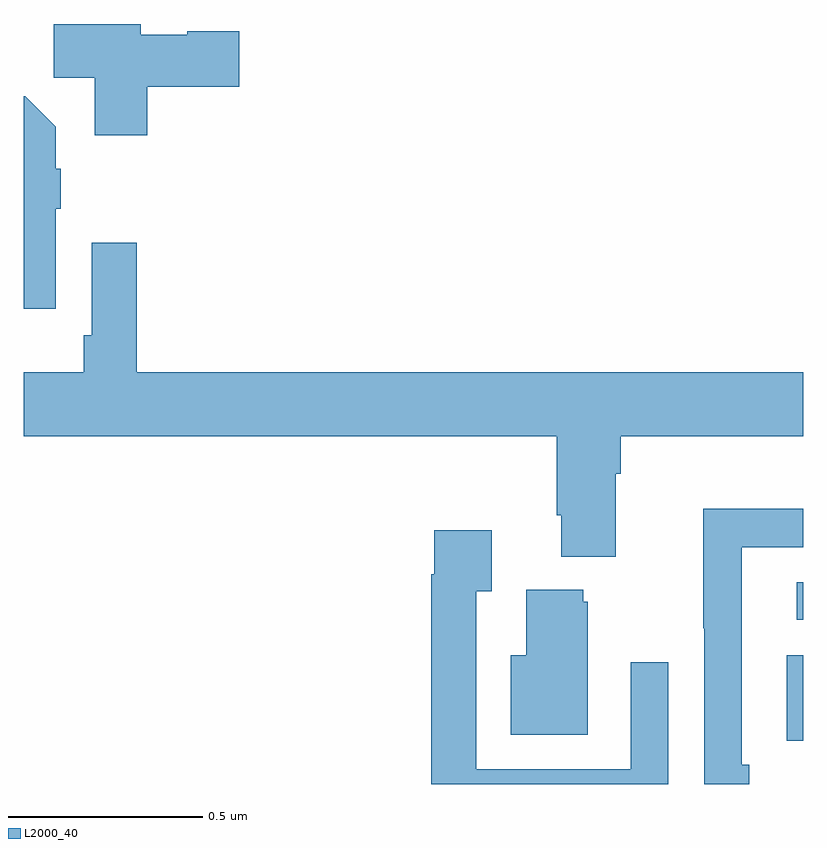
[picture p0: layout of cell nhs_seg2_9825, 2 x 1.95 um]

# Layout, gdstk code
import gdstk
lib = gdstk.Library(unit=1e-6, precision=1e-09)
def R(c, l, rs):  # rectangles x0, y0, x1, y1
    for r in rs: c.add(gdstk.rectangle(r[:2], r[2:], *l))
def P(c, l, *ps):  # polygons
    for p in ps: c.add(gdstk.Polygon(p, *l))
L2000_40 = (2000, 40)

nhs_seg2_9825 = lib.new_cell('nhs_seg2_9825')
R(nhs_seg2_9825, L2000_40, [(235.958,590.911,236,591.13), (235.983,591.222,236,591.318)])
P(nhs_seg2_9825, L2000_40, [(234.317,592.589),(234.553,592.589),(234.553,592.731),(234.42,592.731),(234.42,592.723),(234.3,592.723),(234.3,592.75),(234.077,592.75),(234.077,592.612),(234.182,592.612),(234.182,592.464),(234.317,592.464)],
  [(234.082,592.276),(234.095,592.276),(234.095,592.379),(234.082,592.379),(234.082,592.486),(234.004,592.564),(234,592.564),(234,592.02),(234.082,592.02)],
  [(235.519,591.596),(235.532,591.596),(235.532,591.692),(236,591.692),(236,591.856),(234.29,591.856),(234.29,592.189),(234.174,592.189),(234.174,591.952),(234.154,591.952),(234.154,591.856),(234,591.856),(234,591.692),(235.367,591.692),(235.367,591.49),(235.379,591.49),(235.379,591.383),(235.519,591.383)],
  [(235.861,590.85),(235.842,590.85),(235.842,591.408),(236,591.408),(236,591.506),(235.744,591.506),(235.744,591.199),(235.746,591.199),(235.746,590.8),(235.861,590.8)],
  [(235.653,591.112),(235.557,591.112),(235.557,590.838),(235.161,590.838),(235.161,591.295),(235.201,591.295),(235.201,591.451),(235.053,591.451),(235.053,591.338),(235.045,591.338),(235.045,590.8),(235.653,590.8)],
  [(235.447,591.267),(235.436,591.267),(235.436,591.298),(235.289,591.298),(235.289,591.13),(235.25,591.13),(235.25,590.927),(235.447,590.927)])

lib.write_gds('nhs_seg2_9825.gds')
